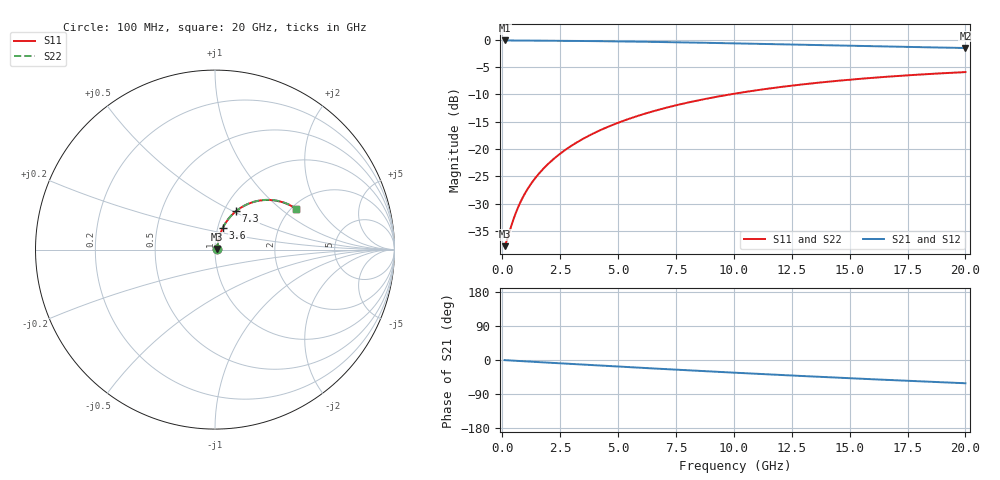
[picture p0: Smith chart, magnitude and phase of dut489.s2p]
! Touchstone file exported from HFSS 2026.1.0
!  File:  C:/ffzhzh/LocalFiles/Ansys_Project_Files/temp_train_TMRDL_489_1783006520_46388.aedt
!  Generated:  11:36:59 PM Jul  2, 2026
!  Design:  TMRDL
!  Project:  temp_train_TMRDL_489_1783006520_46388
! Variables:
!  h_bsmrdl = 2um
!  h_ox = 20um
!  h_rdl = 5um
!  h_sub = 80um
!  h_tmrdl = 2.04um
!  h_tsv = 80um
!  h_via = 3um
!  l_bsmrdl = 300um
!  l_sub = 1384.14um
!  l_tmrdl = 984.14um
!  m_sub = 200um
!  pitch = 31.17um
!  r_tsv = 6um
!  s_tmrdl = 10um
!  w_bsmrdl = 18um
!  w_sub = 500um
!  w_tmrdl = 13.83um
!  x_tsv_center1 = 991.055um
!  x_tsv_center2 = 1309.055um
!  x_tsv_center3 = 2307.025um
!  x_tsv_center4 = 2625.025um
!  x_tsv_center5 = 3622.995um
!  x_tsv_center6 = 3940.995um
# GHz S MA R 50.000000
! Terminal data exported
! Port[1] = TM_RDL1_1_T1
! Port[2] = TM_RDL1_1_T2
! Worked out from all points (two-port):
!   200 points, 100 MHz to 20 GHz, reference 50 ohm
!   highest |S21| = -0.11 dB at 100 MHz (marker M1); lowest = -1.5 dB at 20 GHz (marker M2)
!   |S21| within 3 dB of the highest: start of sweep to end of sweep
!   lowest |S11| = -37.8 dB at 100 MHz (marker M3), VSWR 1.03, Z = 51.2 + j0.395 ohm
!   |S11| at or under -10 dB: start of sweep to 9.835 GHz
!   |S22| runs from -37.8 to -5.9 dB; largest |S21 - S12| = 5.7e-15
!   S11 on the Smith chart (normalised r, x): 100 MHz: 1.02, +0.01; 3.6 GHz: 1.06, +0.26; 7.3 GHz: 1.14, +0.52; 20 GHz: 2.12, +1.29
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0.1  0.01286 17.4  0.9878 -0.4  0.9878 -0.4  0.01286 17.4
! Gamma 0 0 0 0
! Port Impedance 50 0 50 0
0.2  0.01463 31.7  0.9876 -0.7  0.9876 -0.7  0.01463 31.7
0.5  0.02322 54.2  0.9868 -1.8  0.9868 -1.8  0.02322 54.2
0.7  0.02979 60.6  0.9862 -2.5  0.9862 -2.5  0.02979 60.6
1  0.03983 65.7  0.9852 -3.6  0.9852 -3.6  0.03983 65.7
1.3  0.04992 68.4  0.9843 -4.6  0.9843 -4.6  0.04992 68.4
1.7  0.06344 70.3  0.9831 -6.0  0.9831 -6.0  0.06344 70.4
2.2  0.08039 71.3  0.9816 -7.7  0.9816 -7.7  0.08039 71.3
2.8  0.1007 71.3  0.9794 -9.8  0.9794 -9.8  0.1007 71.3
3.5  0.1243 70.5  0.9765 -12.2  0.9765 -12.2  0.1243 70.5
3.6  0.1277 70.3  0.976 -12.5  0.976 -12.5  0.1277 70.4
4.3  0.1509 69.0  0.9725 -14.9  0.9725 -14.9  0.1509 69.0
5  0.1738 67.3  0.9685 -17.2  0.9685 -17.2  0.1738 67.4
5.9  0.2025 65.0  0.9628 -20.3  0.9628 -20.3  0.2025 65.1
6.8  0.2303 62.6  0.9563 -23.2  0.9563 -23.2  0.2303 62.6
7.3  0.2453 61.2  0.9525 -24.8  0.9525 -24.8  0.2453 61.2
8.6  0.2828 57.4  0.9419 -29.0  0.9419 -29.0  0.2828 57.5
10.1  0.3231 53.1  0.9286 -33.7  0.9286 -33.7  0.3231 53.2
11.7  0.3624 48.5  0.9138 -38.6  0.9138 -38.6  0.3624 48.6
13.4  0.3999 43.8  0.8979 -43.5  0.8979 -43.5  0.3999 43.9
16.7  0.4607 34.9  0.8683 -52.7  0.8683 -52.7  0.4607 35.0
20  0.5067 26.5  0.8425 -61.4  0.8425 -61.4  0.5066 26.7
